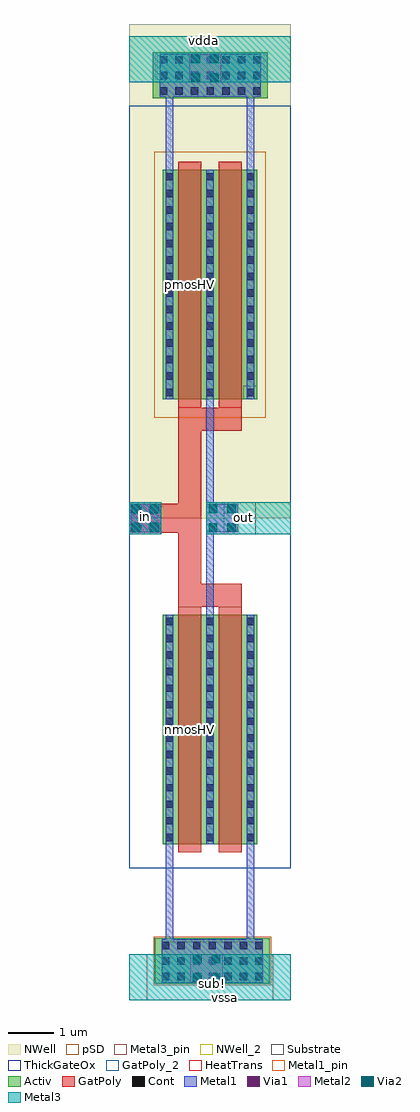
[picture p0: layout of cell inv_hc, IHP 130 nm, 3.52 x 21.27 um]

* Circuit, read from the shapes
.subckt inv_hc in out vdda vssa
XM1 out in vssa vssa sg13_hv_nmos w=5u l=0.5u m=2
XM2 out in vdda vdda sg13_hv_pmos w=5u l=0.5u m=2
.ends

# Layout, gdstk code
import gdstk
lib = gdstk.Library(unit=1e-6, precision=1e-09)
def R(c, l, rs):  # rectangles x0, y0, x1, y1
    for r in rs: c.add(gdstk.rectangle(r[:2], r[2:], *l))
def A(c, l, x, y, w, h, nx, ny, dx, dy):  # array of equal rectangles
    R(c, l, [(x+i*dx, y+j*dy, x+i*dx+w, y+j*dy+h) for i in range(nx) for j in range(ny)])
Activ = (1, 0)
GatPoly = (5, 0)
GatPoly_2 = (5, 2)
Cont = (6, 0)
Metal1 = (8, 0)
Metal1_pin = (8, 2)
Metal2 = (10, 0)
pSD = (14, 0)
Via1 = (19, 0)
Via2 = (29, 0)
Metal3 = (30, 0)
Metal3_pin = (30, 2)
NWell = (31, 0)
NWell_2 = (31, 2)
Substrate = (40, 0)
ThickGateOx = (44, 0)
HeatTrans = (51, 0)

inv_hc = lib.new_cell('inv_hc')
A(inv_hc, Activ, 0.345, 2.895, 0.3, 0.3, 3, 2, 0.88, 9.695)
R(inv_hc, Activ, [(0.175,-0.15,2.675,0.85), (0.345,2.895,2.405,7.895), (0.345,12.59,2.405,17.59), (0.13,19.15,2.63,20.15)])
R(inv_hc, GatPoly, [(0.685,2.715,1.185,8.075), (1.565,2.715,2.065,8.075), (0.685,5.48,1.185,14.495), (1.185,8.075,2.065,8.575), (-0.355,9.68,0.285,10.32), (-0.245,9.68,0.795,10.32), (1.185,11.91,2.065,12.41), (0.685,12.41,1.185,17.77), (1.565,12.41,2.065,17.77)])
R(inv_hc, GatPoly_2, [(0.685,2.715,1.185,8.075), (0.685,12.41,1.185,17.77)])
A(inv_hc, Cont, 0.325, -0.07, 0.16, 0.16, 7, 3, 0.34, 0.34)
A(inv_hc, Cont, 0.415, 2.965, 0.16, 0.16, 3, 4, 0.88, 0.36)
A(inv_hc, Cont, 0.415, 4.41, 0.16, 0.16, 3, 3, 0.88, 0.36)
A(inv_hc, Cont, 0.415, 5.495, 0.16, 0.16, 3, 3, 0.88, 0.36)
A(inv_hc, Cont, 0.415, 6.58, 0.16, 0.16, 3, 3, 0.88, 0.36)
A(inv_hc, Cont, 0.415, 7.665, 0.16, 0.16, 3, 2, 0.88, 4.995)
A(inv_hc, Cont, 0.415, 13.02, 0.16, 0.16, 3, 3, 0.88, 0.36)
A(inv_hc, Cont, 0.415, 14.105, 0.16, 0.16, 3, 3, 0.88, 0.36)
A(inv_hc, Cont, 0.415, 15.19, 0.16, 0.16, 3, 3, 0.88, 0.36)
A(inv_hc, Cont, 0.415, 16.275, 0.16, 0.16, 3, 3, 0.88, 0.36)
A(inv_hc, Cont, 0.415, 17.36, 0.16, 0.16, 3, 1, 0.88, 0)
A(inv_hc, Cont, 0.28, 19.23, 0.16, 0.16, 7, 3, 0.34, 0.34)
R(inv_hc, Cont, [(-0.285,9.75,-0.125,9.91), (0.055,9.75,0.215,9.91), (-0.285,10.09,-0.125,10.25), (0.055,10.09,0.215,10.25)])
A(inv_hc, Metal1, 0.415, 2.895, 0.16, 5, 3, 2, 0.88, 9.695)
R(inv_hc, Metal1, [(0.325,-0.12,2.525,0.82), (0.415,-0.115,0.575,5.555), (0.95,-0.115,1.65,0.505), (2.175,-0.115,2.335,5.555), (0.325,-0.07,2.525,0.77), (1.295,2.895,1.455,17.59), (-0.385,9.69,0.315,10.31), (1.295,9.69,1.995,10.31), (0.415,14.37,0.575,20.12), (2.175,14.37,2.335,20.12), (0.28,19.18,2.48,20.12), (0.92,19.5,1.62,20.12)])
R(inv_hc, Metal1_pin, [(0.325,-0.07,2.525,0.77), (0.415,2.895,0.575,7.895), (1.295,2.895,1.455,7.895), (0.415,12.59,0.575,17.59), (1.295,12.59,1.455,17.59), (0.28,19.18,2.48,20.12), (0.28,19.23,2.48,20.07)])
R(inv_hc, Metal2, [(0.95,-0.11,1.65,0.5), (-0.385,9.695,0.315,10.305), (1.295,9.695,1.995,10.305), (0.92,19.505,1.62,20.115)])
R(inv_hc, pSD, [(0.145,-0.18,2.705,0.88), (0.165,12.19,2.585,17.99)])
R(inv_hc, Via1, [(1,-0.105,1.19,0.085), (1.41,-0.105,1.6,0.085), (1,0.305,1.19,0.495), (1.41,0.305,1.6,0.495), (-0.335,9.7,-0.145,9.89), (0.075,9.7,0.265,9.89), (1.345,9.7,1.535,9.89), (1.755,9.7,1.945,9.89), (-0.335,10.11,-0.145,10.3), (0.075,10.11,0.265,10.3), (1.345,10.11,1.535,10.3), (1.755,10.11,1.945,10.3), (0.97,19.51,1.16,19.7), (1.38,19.51,1.57,19.7), (0.97,19.92,1.16,20.11), (1.38,19.92,1.57,20.11)])
R(inv_hc, Via2, [(1,-0.105,1.19,0.085), (1.41,-0.105,1.6,0.085), (1,0.305,1.19,0.495), (1.41,0.305,1.6,0.495), (-0.335,9.7,-0.145,9.89), (0.075,9.7,0.265,9.89), (1.345,9.7,1.535,9.89), (1.755,9.7,1.945,9.89), (-0.335,10.11,-0.145,10.3), (0.075,10.11,0.265,10.3), (1.345,10.11,1.535,10.3), (1.755,10.11,1.945,10.3), (0.97,19.51,1.16,19.7), (1.38,19.51,1.57,19.7), (0.97,19.92,1.16,20.11), (1.38,19.92,1.57,20.11)])
R(inv_hc, Metal3, [(-0.385,-0.5,3.135,0.5), (0.95,-0.11,1.65,0.5), (-0.385,9.65,0.315,10.35), (1.295,9.65,3.135,10.35), (-0.385,9.695,0.315,10.305), (1.295,9.695,1.995,10.305), (-0.385,19.5,3.135,20.5), (0.92,19.505,1.62,20.115)])
R(inv_hc, Metal3_pin, [(0,-0.5,2.75,0.5), (-0.385,9.65,0.315,10.35), (1.675,9.65,2.375,10.35), (-0.385,19.5,3.135,20.5)])
R(inv_hc, NWell, [(-0.385,10,3.135,20.77), (-0.275,11.97,3.025,18.21), (-0.11,18.91,2.87,20.39), (0.13,19.15,2.63,20.15)])
R(inv_hc, NWell_2, [(0.13,19.15,2.63,20.15)])
R(inv_hc, Substrate, [(0.175,-0.15,2.675,0.85), (2.105,12.59,2.405,12.89)])
R(inv_hc, ThickGateOx, [(-0.385,2.375,3.135,18.99), (0.075,2.375,2.675,8.415), (0.075,8.415,2.675,9.08), (-0.275,11.97,3.025,18.21)])
R(inv_hc, HeatTrans, [(0.685,2.715,1.185,8.075), (1.565,2.715,2.065,8.075), (0.685,12.41,1.185,17.77), (1.565,12.41,2.065,17.77)])
inv_hc.add(gdstk.Label('sub!', (1.425,-0.14), layer=40, texttype=0))
inv_hc.add(gdstk.Label('pmosHV', (0.935,15.09), layer=63, texttype=0))
inv_hc.add(gdstk.Label('nmosHV', (0.935,5.395), layer=63, texttype=0))
inv_hc.add(gdstk.Label('pmos', (0.935,15.09), layer=51, texttype=0))
inv_hc.add(gdstk.Label('pmos', (1.815,15.09), layer=51, texttype=0))
inv_hc.add(gdstk.Label('nmosHV', (0.935,5.395), layer=51, texttype=0))
inv_hc.add(gdstk.Label('nmosHV', (1.815,5.395), layer=51, texttype=0))
inv_hc.add(gdstk.Label('vdda', (1.234,20.419), layer=30, texttype=25))
inv_hc.add(gdstk.Label('vssa', (1.698,-0.452), layer=30, texttype=25))
inv_hc.add(gdstk.Label('in', (-0.035,10.04), layer=30, texttype=25))
inv_hc.add(gdstk.Label('out', (2.095,10.02), layer=30, texttype=25))

lib.write_gds('inv_hc.gds')
